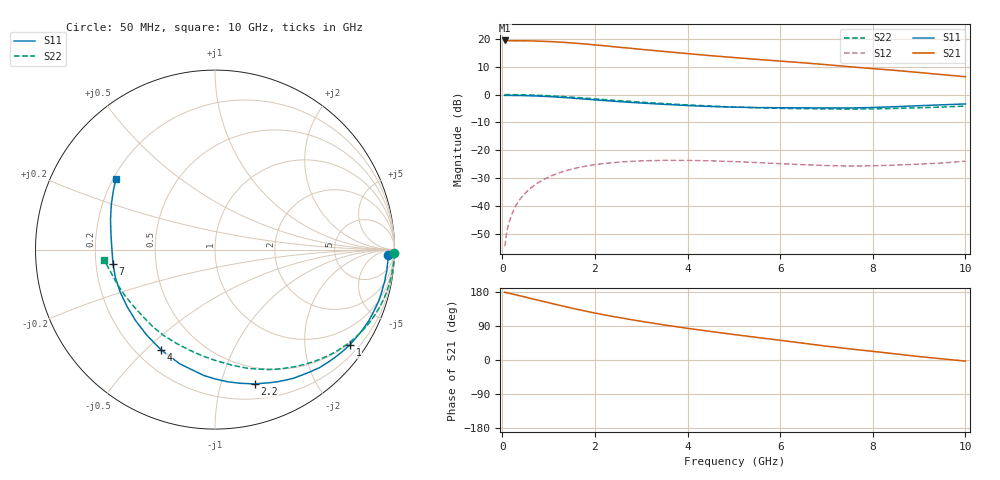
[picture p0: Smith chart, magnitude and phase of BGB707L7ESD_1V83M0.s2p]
!  Infineon Technologies AG
!  BGB707L7ESD RU919007 w#7 Sample Build #08493 Teil Nr. 3
!  Vce = 1.8V, Ic = 3.0mA
!  DATUM: 30.06.2009 10:15:21
# GHz  S  MA  R  50
!f  S11  S21  S12  S22
!GHz  Mag  Ang  Mag  Ang  Mag  Ang  Mag  Ang
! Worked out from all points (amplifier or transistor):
!   52 points, 50 MHz to 10 GHz, reference 50 ohm
!   highest |S21| = 19.4 dB at 60 MHz (marker M1)
!   |S21| within 3 dB of that: start of sweep to 2.884 GHz
!   unconditionally stable (mu >= 1): 6.795 GHz to end of sweep
!   at 130 MHz: K = -0.02, MSG = 33.1 dB, |S12| = -46.9 dB
!   at 1.4 GHz: K = 0.09, MSG = 23.0 dB, |S12| = -27.3 dB
!   at 10 GHz: K = 1.11, MAG = 13.1 dB, |S12| = -24.0 dB
!   lowest NFmin = 0.40 dB at 100 MHz
!   S11 on the Smith chart (normalised r, x): 50 MHz: 30, -29; 1 GHz: 0.45, -3.09; 2.2 GHz: 0.34, -1.28; 4 GHz: 0.30, -0.56; 7 GHz: 0.27, -0.07; 10 GHz: 0.21, +0.31
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0.05  0.9656 -1.9  9.211 178.8  0.001879 90.0  0.9991 -1.2
0.06  0.9646 -2.3  9.384 178.5  0.001984 94.7  0.9988 -1.4
0.08  0.9661 -2.7  9.231 177.8  0.002661 88.4  0.9991 -2.0
0.09  0.9675 -3.3  9.308 178.1  0.003129 89.3  0.9991 -2.3
0.1  0.9648 -3.7  9.261 177.2  0.003311 88.9  0.9984 -2.5
0.14  0.9643 -5.0  9.273 176.2  0.004935 87.2  0.9977 -3.6
0.35  0.9591 -12.4  9.258 170.3  0.012 82.1  0.9932 -8.9
0.7  0.9442 -24.8  9.192 159.9  0.02363 73.6  0.9756 -17.8
1  0.9197 -35.2  8.973 151.2  0.0328 66.4  0.9515 -25.3
1.4  0.8774 -48.7  8.595 139.8  0.04334 57.5  0.9096 -34.8
1.6  0.8505 -55.3  8.348 134.2  0.04775 53.1  0.8854 -39.4
1.8  0.8274 -61.5  8.093 129.0  0.0516 49.1  0.8608 -43.7
2.2  0.7804 -73.5  7.545 119.2  0.05755 41.8  0.8124 -51.8
2.8  0.7204 -90.0  6.753 106.1  0.06302 32.7  0.7491 -62.8
3.5  0.6659 -107.2  5.942 92.5  0.06558 24.3  0.688 -74.3
4  0.6345 -118.2  5.443 83.6  0.06538 19.7  0.6507 -81.6
4.5  0.6102 -128.3  5.002 75.3  0.06427 16.2  0.6205 -89.1
5.5  0.5835 -147.1  4.292 59.6  0.05982 12.2  0.5775 -104.5
6.5  0.5766 -163.9  3.721 44.3  0.05484 13.1  0.5578 -120.5
7  0.574 -172.0  3.442 36.6  0.05288 15.3  0.5522 -128.7
8.5  0.6057 163.9  2.713 16.0  0.054 25.9  0.5637 -152.9
10  0.678 144.5  2.093 -2.9  0.06331 33.5  0.6208 -174.8
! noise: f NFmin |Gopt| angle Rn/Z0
0.1  0.4  0.63  2  0.21
0.45  0.47  0.63  4  0.21
0.9  0.57  0.65  13  0.2
1.8  0.64  0.51  35  0.2
5  1.07  0.41  77  0.19
10  1.82  0.45  -140  0.13
